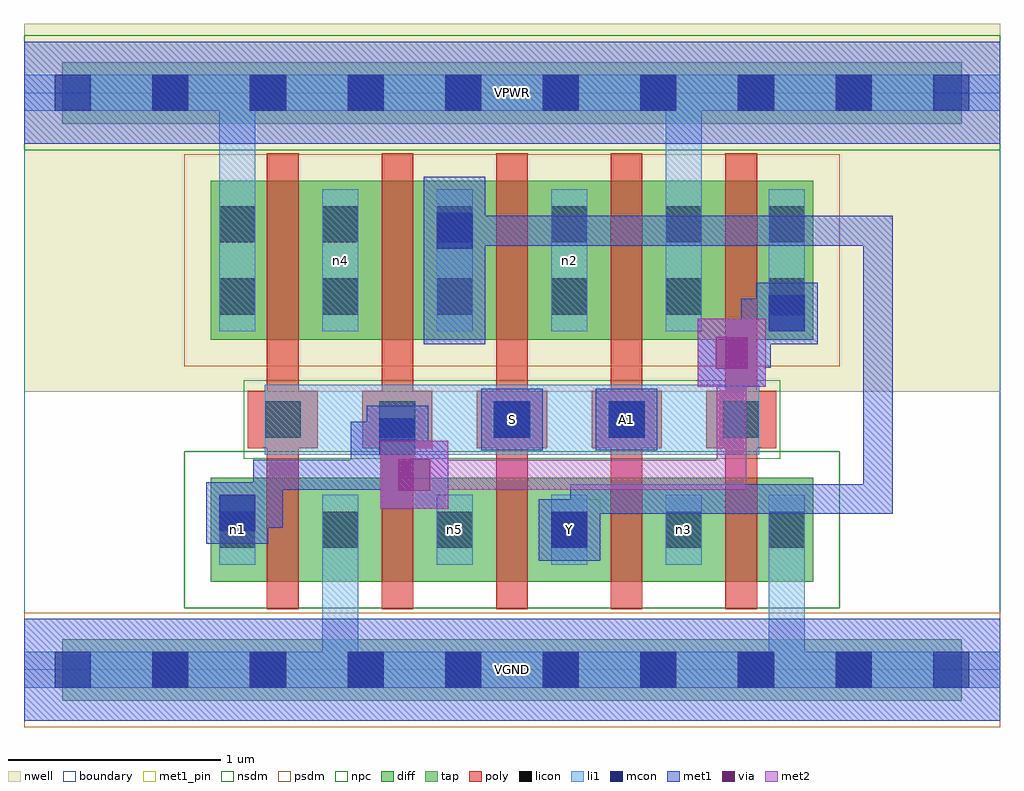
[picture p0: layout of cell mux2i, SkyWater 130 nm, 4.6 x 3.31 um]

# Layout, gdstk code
import gdstk
lib = gdstk.Library(unit=1e-6, precision=1e-09)
def R(c, l, rs):  # rectangles x0, y0, x1, y1
    for r in rs: c.add(gdstk.rectangle(r[:2], r[2:], *l))
def A(c, l, x, y, w, h, nx, ny, dx, dy):  # array of equal rectangles
    R(c, l, [(x+i*dx, y+j*dy, x+i*dx+w, y+j*dy+h) for i in range(nx) for j in range(ny)])
nwell = (64, 20)
diff = (65, 20)
tap = (65, 44)
poly = (66, 20)
licon = (66, 44)
li1 = (67, 20)
mcon = (67, 44)
met1_pin = (68, 16)
met1 = (68, 20)
via = (68, 44)
met2 = (69, 20)
nsdm = (93, 44)
psdm = (94, 20)
npc = (95, 20)
boundary = (235, 4)

mux2i = lib.new_cell('mux2i')
R(mux2i, nwell, [(0,1.31,4.6,3.045)])
R(mux2i, diff, [(0.88,0.415,3.72,0.905), (0.88,1.555,3.72,2.305)])
R(mux2i, tap, [(0.18,-0.145,4.42,0.145), (0.18,2.575,4.42,2.865)])
A(mux2i, poly, 1.145, 0.285, 0.15, 2.15, 5, 1, 0.54, 0)
A(mux2i, poly, 1.055, 1.045, 0.33, 0.27, 5, 1, 0.54, 0)
A(mux2i, licon, 0.605, -0.085, 0.17, 0.17, 8, 2, 0.46, 2.72)
A(mux2i, licon, 1.405, 0.575, 0.17, 0.17, 4, 2, 0.54, 1.1)
A(mux2i, licon, 1.135, 1.095, 0.17, 0.17, 5, 1, 0.54, 0)
A(mux2i, licon, 1.405, 2.015, 0.17, 0.17, 4, 1, 0.54, 0)
R(mux2i, licon, [(0.92,0.575,1.09,0.745), (3.51,0.575,3.68,0.745), (0.92,1.675,1.09,1.845), (3.51,1.675,3.68,1.845), (0.92,2.015,1.09,2.185), (3.51,2.015,3.68,2.185)])
A(mux2i, li1, 1.405, 0.495, 0.17, 0.33, 4, 1, 0.54, 0)
A(mux2i, li1, 1.675, 1.015, 0.17, 0.33, 3, 1, 0.54, 0)
A(mux2i, li1, 1.405, 1.595, 0.17, 0.67, 4, 1, 0.54, 0)
R(mux2i, li1, [(0,-0.085,4.6,0.085), (1.405,-0.085,1.575,0.825), (3.51,-0.085,3.68,0.825), (0.92,0.495,1.09,0.825), (3.51,0.495,3.68,0.825), (1.135,1.015,3.465,1.345), (0.92,1.595,1.09,2.265), (0.92,1.595,1.09,2.805), (3.025,1.595,3.195,2.805), (3.51,1.595,3.68,2.265), (0,2.635,4.6,2.805)])
A(mux2i, mcon, 0.145, -0.085, 0.17, 0.17, 10, 2, 0.46, 2.72)
R(mux2i, mcon, [(2.485,0.575,2.655,0.745), (0.92,0.655,1.09,0.825), (1.675,1.015,1.845,1.185), (2.215,1.095,2.385,1.265), (2.215,1.095,2.385,1.265), (2.755,1.095,2.925,1.265), (3.51,1.595,3.68,1.765), (1.945,1.985,2.115,2.155)])
R(mux2i, met1_pin, [(0,-0.24,4.6,0.24), (2.425,0.515,2.715,0.805), (2.155,1.035,2.445,1.325), (2.155,1.035,2.445,1.325), (2.695,1.035,2.985,1.325), (0,2.48,4.6,2.96)])
R(mux2i, met1, [(0,-0.24,4.6,0.24), (2.425,0.515,2.715,0.805), (0.86,0.595,1.15,0.885), (2.575,0.62,2.715,0.76), (2.575,0.62,2.715,0.875), (0.935,0.67,1.22,0.81), (1.08,0.67,1.22,0.99), (2.575,0.735,4.095,0.875), (3.955,0.735,4.095,2.14), (1.68,0.76,2,1.08), (1.08,0.85,1.68,0.99), (1.54,0.85,1.68,1.17), (1.54,0.85,1.91,0.99), (1.615,0.955,1.905,1.245), (1.54,0.99,1.83,1.03), (1.54,1.03,1.83,1.17), (2.155,1.035,2.445,1.325), (2.155,1.035,2.445,1.325), (2.695,1.035,2.985,1.325), (3.175,1.335,3.495,1.655), (3.265,1.425,3.52,1.565), (3.38,1.425,3.52,1.75), (1.885,1.535,2.175,2.325), (3.45,1.535,3.74,1.825), (3.38,1.61,3.665,1.75), (1.885,1.925,2.175,2.215), (1.96,2,2.255,2.14), (2,2,2.255,2.14), (2,2,2.14,2.14), (2.115,2,4.095,2.14), (0,2.48,4.6,2.96)])
R(mux2i, via, [(1.765,0.845,1.915,0.995), (3.26,1.42,3.41,1.57)])
R(mux2i, met2, [(1.68,0.76,2,1.08), (1.77,0.85,3.405,0.99), (3.265,0.85,3.405,1.565), (3.175,1.335,3.495,1.655)])
R(mux2i, nsdm, [(0.755,0.29,3.845,1.03), (0,2.45,4.6,2.99)])
R(mux2i, psdm, [(0,-0.27,4.6,0.27), (0.755,1.43,3.845,2.43)])
R(mux2i, npc, [(1.035,0.995,3.565,1.365)])
R(mux2i, boundary, [(0,0,4.6,2.72)])
mux2i.add(gdstk.Label('n1', (1.005,0.66), layer=67, texttype=5))
mux2i.add(gdstk.Label('n5', (2.03,0.66), layer=67, texttype=5))
mux2i.add(gdstk.Label('n3', (3.11,0.66), layer=67, texttype=5))
mux2i.add(gdstk.Label('n4', (1.49,1.93), layer=67, texttype=5))
mux2i.add(gdstk.Label('n2', (2.57,1.93), layer=67, texttype=5))
mux2i.add(gdstk.Label('S', (2.3,1.18), layer=68, texttype=5))
mux2i.add(gdstk.Label('A0', (2.3,1.18), layer=68, texttype=5))
mux2i.add(gdstk.Label('A1', (2.84,1.18), layer=68, texttype=5))
mux2i.add(gdstk.Label('Y', (2.57,0.66), layer=68, texttype=5))
mux2i.add(gdstk.Label('VPWR', (2.3,2.72), layer=68, texttype=5))
mux2i.add(gdstk.Label('VGND', (2.3,0), layer=68, texttype=5))
mux2i.add(gdstk.Label('S', (2.3,1.18), layer=68, texttype=16))
mux2i.add(gdstk.Label('A0', (2.3,1.18), layer=68, texttype=16))
mux2i.add(gdstk.Label('A1', (2.84,1.18), layer=68, texttype=16))
mux2i.add(gdstk.Label('Y', (2.57,0.66), layer=68, texttype=16))
mux2i.add(gdstk.Label('VPWR', (2.3,2.72), layer=68, texttype=16))
mux2i.add(gdstk.Label('VGND', (2.3,0), layer=68, texttype=16))

lib.write_gds('mux2i.gds')
